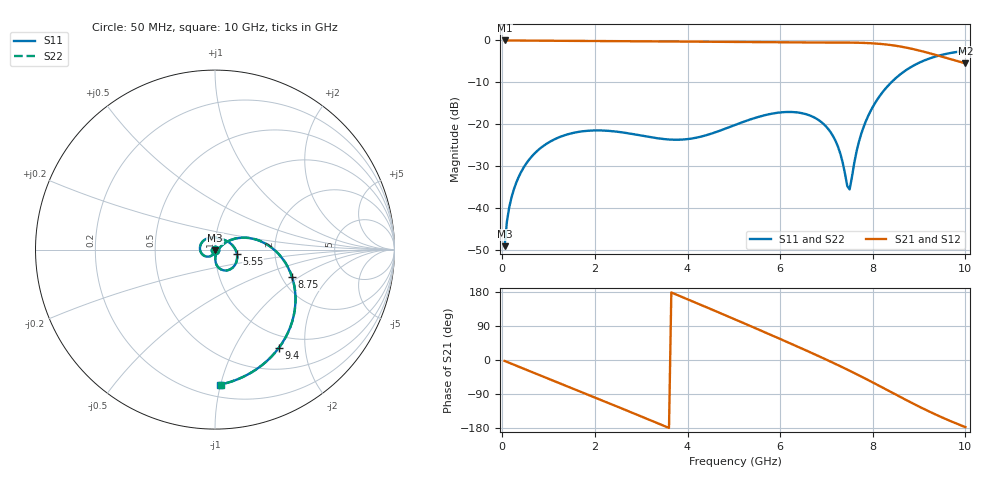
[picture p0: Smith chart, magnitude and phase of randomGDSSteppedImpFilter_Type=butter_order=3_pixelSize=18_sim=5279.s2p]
! freq	dB(S11)	phase(S11)	dB(S12)	phase(S12)
!  dB(S21)	phase(S21)	dB(S22)	phase(S22)
!S-par simulation data
#  GHz  S  DB  R 50
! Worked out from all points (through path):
!   200 points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, 50 MHz to 10 GHz, reference 50 ohm
!   highest |S21| = -0.01 dB at 50 MHz (marker M1); lowest = -5.5 dB at 10 GHz (marker M2)
!   group delay of S21, straight-line fit = 149 ps
!   lowest |S11| = -49.0 dB at 50 MHz (marker M3), VSWR 1.01, Z = 50 - j0.355 ohm
!   |S11| at or under -10 dB: start of sweep to 8.398 GHz
!   |S22| runs from -49.0 to -2.5 dB; largest |S21 - S12| = 0
!   S11 on the Smith chart (normalised r, x): 50 MHz: 1.00, -0.01; 5.55 GHz: 1.28, -0.06; 8.75 GHz: 2.27, -0.87; 9.4 GHz: 0.80, -1.53; 10 GHz: 0.29, -1.00
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0.05  -48.98 -90.4  -0.01 -2.5  -0.01 -2.5  -48.99 -90.4
0.1  -43.10 -92.9  -0.01 -5.0  -0.01 -5.0  -43.10 -92.9
0.2  -37.34 -98.6  -0.02 -10.0  -0.02 -10.0  -37.34 -98.5
0.5  -29.59 -115.3  -0.04 -24.8  -0.04 -24.8  -29.59 -115.3
1.15  -23.43 -148.2  -0.09 -56.9  -0.09 -56.9  -23.42 -148.1
1.75  -21.61 -178.3  -0.13 -86.6  -0.13 -86.6  -21.61 -178.2
2.5  -21.76 143.8  -0.18 -123.9  -0.18 -123.9  -21.76 143.9
2.95  -22.55 120.9  -0.20 -146.4  -0.20 -146.4  -22.55 121.0
3.4  -23.37 97.7  -0.23 -169.1  -0.23 -169.1  -23.37 97.8
4.15  -23.24 59.3  -0.29 152.6  -0.29 152.6  -23.24 59.5
5.05  -20.03 14.4  -0.37 105.8  -0.37 105.8  -20.03 14.5
5.55  -18.15 -10.6  -0.43 79.5  -0.43 79.5  -18.15 -10.6
6.1  -17.06 -38.3  -0.48 50.2  -0.48 50.2  -17.06 -38.3
6.7  -18.14 -68.1  -0.51 17.6  -0.51 17.6  -18.15 -68.3
7.2  -24.02 -87.8  -0.50 -10.6  -0.50 -10.6  -24.04 -88.3
7.5  -35.47 -16.2  -0.51 -28.3  -0.51 -28.3  -35.87 -15.6
7.65  -26.42 31.1  -0.54 -37.4  -0.54 -37.4  -26.48 32.1
7.8  -20.67 32.0  -0.59 -46.6  -0.59 -46.6  -20.68 32.6
8.35  -10.54 4.7  -1.05 -81.7  -1.05 -81.7  -10.55 4.9
8.75  -6.85 -19.5  -1.77 -107.4  -1.77 -107.4  -6.85 -19.3
9.4  -3.70 -57.1  -3.58 -146.2  -3.58 -146.2  -3.70 -57.0
10  -2.47 -87.7  -5.46 -177.2  -5.46 -177.2  -2.47 -87.6
